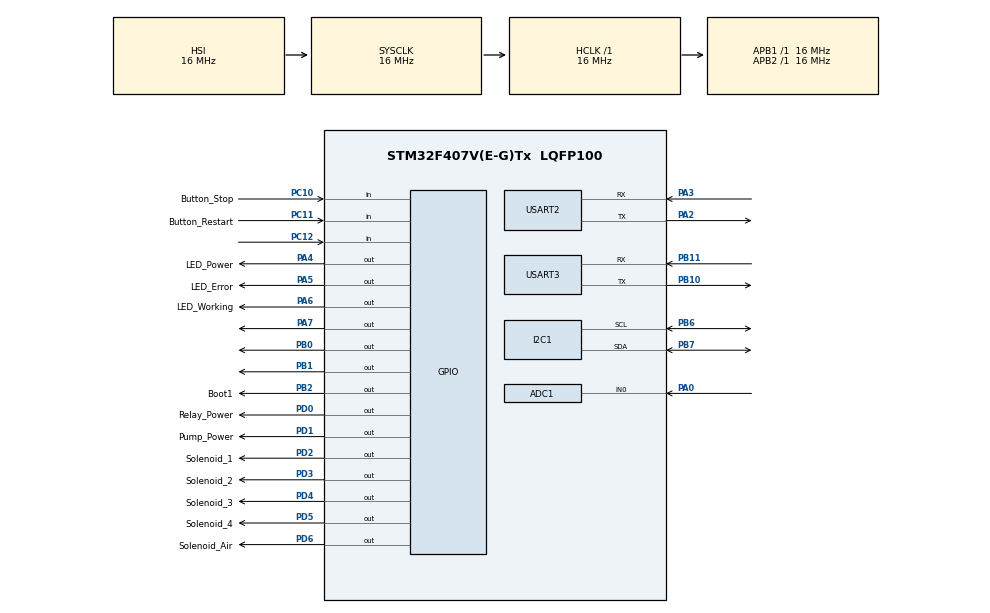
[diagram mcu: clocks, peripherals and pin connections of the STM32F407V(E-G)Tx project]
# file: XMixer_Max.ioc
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ADC1.Channel-0\#ChannelRegularConversion=ADC_CHANNEL_0
ADC1.NbrOfConversionFlag=1
ADC1.Rank-0\#ChannelRegularConversion=1
ADC1.SamplingTime-0\#ChannelRegularConversion=ADC_SAMPLETIME_3CYCLES
ADC1.master=1
Mcu.Family=STM32F4
Mcu.Name=STM32F407V(E-G)Tx
Mcu.Package=LQFP100
NVIC.PriorityGroup=NVIC_PRIORITYGROUP_4
NVIC.TIM2_IRQn=true\:0\:0\:false\:false\:true\:true
NVIC.USART2_IRQn=true\:0\:0\:false\:false\:true\:true
NVIC.USART3_IRQn=true\:0\:0\:false\:false\:true\:true
PA0-WKUP.Signal=ADCx_IN0
PA2.Mode=Asynchronous
PA2.Signal=USART2_TX
PA3.Mode=Asynchronous
PA3.Signal=USART2_RX
PA4.GPIO_Label=LED_Power
PA4.Signal=GPIO_Output
PA5.GPIO_Label=LED_Error
PA5.Signal=GPIO_Output
PA6.GPIO_Label=LED_Working
PA6.Signal=GPIO_Output
PA7.Signal=GPIO_Output
PB0.Signal=GPIO_Output
PB1.Signal=GPIO_Output
PB10.Mode=Asynchronous
PB10.Signal=USART3_TX
PB11.Mode=Asynchronous
PB11.Signal=USART3_RX
PB2.GPIO_Label=Boot1
PB2.Signal=GPIO_Output
PB6.Mode=I2C
PB6.Signal=I2C1_SCL
PB7.Mode=I2C
PB7.Signal=I2C1_SDA
PC10.GPIO_Label=Button_Stop
PC10.Signal=GPIO_Input
PC11.GPIO_Label=Button_Restart
PC11.Signal=GPIO_Input
PC12.Signal=GPIO_Input
PD0.GPIO_Label=Relay_Power
PD0.Signal=GPIO_Output
PD1.GPIO_Label=Pump_Power
PD1.Signal=GPIO_Output
PD2.GPIO_Label=Solenoid_1
PD2.Signal=GPIO_Output
PD3.GPIO_Label=Solenoid_2
PD3.Signal=GPIO_Output
PD4.GPIO_Label=Solenoid_3
PD4.Signal=GPIO_Output
PD5.GPIO_Label=Solenoid_4
PD5.Signal=GPIO_Output
PD6.GPIO_Label=Solenoid_Air
PD6.Signal=GPIO_Output
PH0-OSC_IN.Mode=HSE-External-Oscillator
PH0-OSC_IN.Signal=RCC_OSC_IN
PH1-OSC_OUT.Mode=HSE-External-Oscillator
PH1-OSC_OUT.Signal=RCC_OSC_OUT
ProjectManager.HeapSize=0x200
ProjectManager.StackSize=0x400
ProjectManager.TargetToolchain=SW4STM32
RCC.48MHZClocksFreq_Value=84000000
RCC.AHBFreq_Value=16000000
RCC.APB1Freq_Value=16000000
RCC.APB1TimFreq_Value=16000000
RCC.APB2Freq_Value=16000000
RCC.APB2TimFreq_Value=16000000
RCC.CortexFreq_Value=16000000
RCC.HCLKFreq_Value=16000000
RCC.HSE_VALUE=8000000
RCC.HSI_VALUE=16000000
RCC.LSE_VALUE=32768
RCC.PLLM=4
RCC.PLLN=168
RCC.PLLSourceVirtual=RCC_PLLSOURCE_HSE
RCC.SYSCLKFreq_VALUE=16000000
RCC.VCOOutputFreq_Value=336000000
SH.ADCx_IN0.0=ADC1_IN0,IN0
TIM2.Period=1
TIM2.Prescaler=7999
USART2.VirtualMode=VM_ASYNC
USART3.VirtualMode=VM_ASYNC
VP_TIM2_VS_ClockSourceINT.Mode=Internal
board=custom

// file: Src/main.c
/* USER CODE BEGIN Header */
/**
  ******************************************************************************
  * @file           : main.c
  * @brief          : Main program body
  ******************************************************************************
  ** This notice applies to any and all portions of this file
  * that are not between comment pairs USER CODE BEGIN and
  * USER CODE END. Other portions of this file, whether
  * inserted by the user or by software development tools
  * are owned by their respective copyright owners.
  *
  * COPYRIGHT(c) 2019 STMicroelectronics
  *
  * Redistribution and use in source and binary forms, with or without modification,
  * are permitted provided that the following conditions are met:
  *   1. Redistributions of source code must retain the above copyright notice,
  *      this list of conditions and the following disclaimer.
  *   2. Redistributions in binary form must reproduce the above copyright notice,
  *      this list of conditions and the following disclaimer in the documentation
  *      and/or other materials provided with the distribution.
  *   3. Neither the name of STMicroelectronics nor the names of its contributors
  *      may be used to endorse or promote products derived from this software
  *      without specific prior written permission.
  *
  * THIS SOFTWARE IS PROVIDED BY THE COPYRIGHT HOLDERS AND CONTRIBUTORS "AS IS"
  * AND ANY EXPRESS OR IMPLIED WARRANTIES, INCLUDING, BUT NOT LIMITED TO, THE
  * IMPLIED WARRANTIES OF MERCHANTABILITY AND FITNESS FOR A PARTICULAR PURPOSE ARE
  * DISCLAIMED. IN NO EVENT SHALL THE COPYRIGHT HOLDER OR CONTRIBUTORS BE LIABLE
  * FOR ANY DIRECT, INDIRECT, INCIDENTAL, SPECIAL, EXEMPLARY, OR CONSEQUENTIAL
  * DAMAGES (INCLUDING, BUT NOT LIMITED TO, PROCUREMENT OF SUBSTITUTE GOODS OR
  * SERVICES; LOSS OF USE, DATA, OR PROFITS; OR BUSINESS INTERRUPTION) HOWEVER
  * CAUSED AND ON ANY THEORY OF LIABILITY, WHETHER IN CONTRACT, STRICT LIABILITY,
  * OR TORT (INCLUDING NEGLIGENCE OR OTHERWISE) ARISING IN ANY WAY OUT OF THE USE
  * OF THIS SOFTWARE, EVEN IF ADVISED OF THE POSSIBILITY OF SUCH DAMAGE.
  *
  ******************************************************************************
  */
/* USER CODE END Header */

#include "main.h"

/* USER CODE BEGIN Includes */
#include "i2c-lcd.h"
/* USER CODE END Includes */

ADC_HandleTypeDef hadc1;

I2C_HandleTypeDef hi2c1;

TIM_HandleTypeDef htim2;

UART_HandleTypeDef huart2;
UART_HandleTypeDef huart3;

/* USER CODE BEGIN PV */

//Communication msgs for ESP8266
uint8_t initMsg[] = "init\n";
uint8_t errorMsg[] = "error\n";
uint8_t startMsg[] = "start\n";
uint8_t doneMsg[] = "done\n";
uint8_t ofMsg[] = "overflow\n";

//Test msgs
uint8_t welcomeMessage[] = "Thank you for choosing XMixer Max!\n";
uint8_t selectMessage[] = "Please select the drinks with their ratios.\n";
uint8_t updateMessage[] = "Updating drink information...\n";
uint8_t receiveMessage[] = "Receiving message...\n";
uint8_t vol1Msg[] = "The volume of drink 1 is: ";
uint8_t vol2Msg[] = "The volume of drink 2 is: ";
uint8_t vol3Msg[] = "The volume of drink 3 is: ";
uint8_t vol4Msg[] = "The volume of drink 4 is: ";
uint8_t mlMsg[] = " ml.\n";
uint8_t reply[] = "I received: ";

//Variables
uint8_t pData;
uint8_t buffer[100];
uint8_t numBuffer[10];
int numBufIdx = 0;
int i = 0;
int LF = 0;
int CurIdx;
int status = STATUS_INIT;
int timeout = 0; //2 usages
int overflow = 0;
int tim; //working time passed to TIM2 handler
/* USER CODE END PV */

void SystemClock_Config(void);
static void MX_GPIO_Init(void);
static void MX_I2C1_Init(void);
static void MX_USART2_UART_Init(void);
static void MX_USART3_UART_Init(void);
static void MX_TIM2_Init(void);
static void MX_ADC1_Init(void);
/* USER CODE BEGIN PFP */
void Drink_Transfer(int sol, int time);
void Timer_Enable();
void Timer_Disable();
void System_Test();
/* USER CODE END PFP */

int main(void)
{
  /* USER CODE BEGIN 1 */
	int Vol1;
	int Vol2;
	int Vol3;
	int Vol4;
	int VolDel;
	int Time1;
	int Time2;
	int Time3;
	int Time4;

	int offlag;
  /* USER CODE END 1 */

  /* MCU Configuration--------------------------------------------------------*/

  /* Reset of all peripherals, Initializes the Flash interface and the Systick. */
  HAL_Init();

  /* Configure the system clock */
  SystemClock_Config();

  /* Initialize all configured peripherals */
  MX_GPIO_Init();
  MX_I2C1_Init();
  MX_USART2_UART_Init();
  MX_USART3_UART_Init();
  MX_TIM2_Init();
  MX_ADC1_Init();
  /* USER CODE BEGIN 2 */

  // System starts. Initialize LCD and UAR, turn a green LED to show the status. Wait for Internet connection.
  // Send msg to ESP first and then waiting for reply to check the connection
  // Software is responsible for verifying bidirectional connection with the server
  i = 0;
  lcd_init();
  lcd_send_cmd(0x01);
  lcd_send_cmd(0x02);
  lcd_send_string("plThank you for");
  lcd_send_cmd(0xc0);
  lcd_send_string("using XMixer Max");
  HAL_GPIO_WritePin(LED_Power_GPIO_Port, LED_Power_Pin, GPIO_PIN_SET);
  HAL_Delay(4000);
  lcd_send_cmd(0x01);
  lcd_send_cmd(0x02);
  lcd_send_string("plTrying to con");
  lcd_send_cmd(0xc0);
  lcd_send_string("nect to Internet");
  HAL_UART_Receive_IT(&huart2, &pData, 1);
  HAL_UART_Transmit(&huart2, initMsg, sizeof(initMsg), 100);
  ADC1 -> CR2 |= ADC_CR2_ADON;
  HAL_GPIO_WritePin(LED_Error_GPIO_Port, LED_Error_Pin, GPIO_PIN_RESET);

  HAL_Delay(4000);
  lcd_send_cmd(0x01);
  lcd_send_cmd(0x02);
  lcd_send_string("plPlease select");
  lcd_send_cmd(0xc0);
  lcd_send_string("drinks!");
  /*do {
	  if ((LF == 1) && (timeout == 0)) {
		  //Keep trying as long as 30 seconds have not passed since last restart.
		  LF = 0;
		  lcd_send_cmd(0x01);
		  lcd_send_cmd(0x02);
		  HAL_UART_Receive_IT(&huart2, &pData, 1);
		  if (buffer == "success\n") {
			  //Connection established. Start working.
			  status = STATUS_IDLE;
			  lcd_send_string("plPlease select");
			  lcd_send_cmd(0xc0);
			  lcd_send_string("drinks!");
		  } else if (buffer == "fail\n") {
			  //Connection failed. Reconnecting.
			  status = STATUS_ERROR;
			  lcd_send_string("plNo WiFi found");
			  lcd_send_cmd(0xc0);
			  lcd_send_string("Reconnecting...");
		  }
	  } else if (timeout == 1) {
		  //Have Waited for 30 seconds. Update LCD if still no connection, and turn a red LED PD1 on to indicate error. Then wait for button input to start over.
		  if (HAL_GPIO_ReadPin(Button_Restart_GPIO_Port, Button_Restart_Pin) == 1) {
			  //Button pressed. Start over.
			  timeout = 0;
			  status = STATUS_INIT;
			  HAL_GPIO_WritePin(LED_Error_GPIO_Port, LED_Error_Pin, GPIO_PIN_RESET);
			  lcd_send_cmd(0x01);
			  lcd_send_cmd(0x02);
			  lcd_send_string("plReconnecting...");
		  } else {
			  //Timeout
			  HAL_GPIO_WritePin(LED_Error_GPIO_Port, LED_Error_Pin, GPIO_PIN_SET);
			  lcd_send_cmd(0x01);
			  lcd_send_cmd(0x02);
			  if (status == STATUS_INIT) {
				  lcd_send_string("plWiFi module");
				  lcd_send_cmd(0xc0);
				  lcd_send_string("malfunctioning");
			  } else if (status == STATUS_ERROR) {
				  lcd_send_string("plPlease check");
				  lcd_send_cmd(0xc0);
				  lcd_send_string("WiFi signal");
			  }
		  }
	  }
   } while (status != STATUS_IDLE);
*/
  timeout = 0;
  /* USER CODE END 2 */

  /* Infinite loop */
  while (1)
  {

    /* USER CODE BEGIN 3 */
	  //Check if any information is received.
	  HAL_GPIO_WritePin(LED_Error_GPIO_Port, LED_Error_Pin, GPIO_PIN_RESET);
	  if (LF == 1) {
		  offlag = 0;
		  LF = 0;
		  i = 0;
		  if ((buffer[0] == 49) || (buffer[0] == 10)) { // /n or 1
			  //Order received, parse information
			  CurIdx = 1;
			  numBufIdx = 0;
			  VolDel = 0;
			  while(buffer[CurIdx] != 100) { // d
				  if (buffer[CurIdx] == 44) { // ,
					  CurIdx += 1;
		  	  	  	  while (buffer[CurIdx] != 46) { // .
		  	  	  		  numBuffer[numBufIdx] = buffer[CurIdx];
		  	  	  		  numBufIdx += 1;
		  	  	  		  CurIdx += 1;
		  	  	  	  }
		  	  	  	  numBuffer[numBufIdx] = 0;
		  	  	  	  if (VolDel == 0) {
		  	  	  		  Vol1 = atoi(numBuffer);
		  	  	  		  //HAL_UART_Transmit(&huart3, vol1Msg, sizeof(vol1Msg), 100);
		  	  	  	  } else if (VolDel == 1) {
		  	  	  		  Vol2 = atoi(numBuffer);
		  	  	  		  //HAL_UART_Transmit(&huart3, vol2Msg, sizeof(vol2Msg), 100);
		  	  	  	  } else if (VolDel == 2) {
		  	  	  		  Vol3 = atoi(numBuffer);
		  	  	  		  //HAL_UART_Transmit(&huart3, vol3Msg, sizeof(vol3Msg), 100);
		  	  	  	  } else if (VolDel == 3) {
		  	  	  		  Vol4 = atoi(numBuffer);
		  	  	  		  //HAL_UART_Transmit(&huart3, vol4Msg, sizeof(vol4Msg), 100);
		  	  	  	  }
		  	  	  	  VolDel += 1;
		  	  	  	  numBufIdx = 0;
		  	  	  	  //HAL_UART_Transmit(&huart3, numBuffer, sizeof(numBuffer), 100);
		  	  	  	  //HAL_UART_Transmit(&huart3, mlMsg, sizeof(mlMsg), 100);
			  	  }
			  CurIdx += 1;
	  	  	  }
			  lcd_send_cmd(0x01);
			  lcd_send_cmd(0x02);
			  lcd_send_string("plOrder received");
			  lcd_send_cmd(0xc0);
			  lcd_send_string("Mixing");
			  status = STATUS_READY;
			  //HAL_UART_Transmit(&huart3,h		ccc startMsg, sizeof(startMsg), 100);
		  }
		  //For now, assume no other information would be received, and the process would not be interrupted.
		  else {
			  //Indicate information is not recognizable
			  HAL_UART_Transmit(&huart2, errorMsg, sizeof(errorMsg), 100);
		  }
		  i = 0;
		  HAL_UART_Receive_IT(&huart2, &pData, 1);
	  }
//	  Vol1 = 20;
//	  Vol2 = 20;
//	  Vol3 = 20;
//	  Vol4 = 20;
//	  System_Test();

	  if (status == STATUS_READY) {
//		  if ((Vol1 + Vol2 + Vol3 + Vol4) > 300) {
//			  offlag = 1;
//			  Vol1 = (Vol1 > 300) ? 300: Vol1;
//			  Vol2 = ((Vol1 + Vol2) > 300) ? (300 - Vol1) : Vol2;
//			  Vol3 = ((Vol1 + Vol2 + Vol3) > 300) ? (300 - Vol1 - Vol2) : Vol3;
//			  Vol4 = 300 - Vol1 - Vol2 - Vol3;
//		  }
//		  Vol1 = (Vol1 - 10) * 2;
//		  Vol2 = (Vol2 - 10) * 2;
//		  Vol3 = (Vol3 - 10) * 2;
//		  Vol3 = (Vol4 - 10) * 2;
//		  Vol1 *= 1.15;
//		  Vol2 *= 1.15;
//		  Vol3 *= 1.15;
//		  Vol3 *= 1.15;
		  //Start mixing, need to calculate the time with the speed 7.5 ml/s
		  Timer_Enable();
		  Time1 = Vol1/SPEED1;
		  Time2 = Vol2/SPEED2;
		  Time3 = Vol3/SPEED3;
		  Time4 = Vol4/SPEED4;
		  HAL_GPIO_WritePin(LED_Working_GPIO_Port, LED_Working_Pin, GPIO_PIN_SET);
		  HAL_GPIO_WritePin(Relay_Power_GPIO_Port, Relay_Power_Pin, GPIO_PIN_SET); //Turn on the relay
		  HAL_GPIO_WritePin(Pump_Power_GPIO_Port, Pump_Power_Pin, GPIO_PIN_SET); //Turn on the pump, as PC10 in the pump test

		  Drink_Transfer(1, Time1);
		  if (!overflow) {
			  Drink_Transfer(2, Time2);
			  if (!overflow) {
				  Drink_Transfer(3, Time3);
				  if (!overflow) {
					  Drink_Transfer(4, Time4);
				  }
			  }
		  }

		  HAL_GPIO_WritePin(Pump_Power_GPIO_Port, Pump_Power_Pin, GPIO_PIN_RESET); //Turn off the pump
		  HAL_GPIO_WritePin(Relay_Power_GPIO_Port, Relay_Power_Pin, GPIO_PIN_RESET); //Turn off the relay
		  status = STATUS_IDLE;

		  //Update LED, LCD and the web site
		  HAL_GPIO_WritePin(LED_Working_GPIO_Port, LED_Working_Pin, GPIO_PIN_RESET);
		  if (!overflow && !offlag) {
			  lcd_send_cmd(0x01);
			  lcd_send_cmd(0x02);
			  lcd_send_string("plOrder");
			  lcd_send_cmd(0xc0);
			  lcd_send_string("completed!");
			  HAL_UART_Transmit(&huart2, doneMsg, sizeof(doneMsg), 100);
		  } else {
			  HAL_GPIO_WritePin(LED_Error_GPIO_Port, LED_Error_Pin, GPIO_PIN_SET);
			  lcd_send_cmd(0x01);
			  lcd_send_cmd(0x02);
			  lcd_send_string("plAlmost full!");
			  lcd_send_cmd(0xc0);
			  lcd_send_string("Stop mixing!");
			  HAL_UART_Transmit(&huart2, ofMsg, sizeof(ofMsg), 100);
			  overflow = 0;
		  }
		  Vol1 = 0;
		  Vol2 = 0;
		  Vol3 = 0;
		  Vol4 = 0;
		  offlag = 0;
		  Timer_Disable();
		  HAL_Delay(10000);
		  lcd_send_cmd(0x01);
		  lcd_send_cmd(0x02);
		  lcd_send_string("plPlease select");
		  lcd_send_cmd(0xc0);
		  lcd_send_string("drinks!");
		  HAL_Delay(3000);
	  }
  }
  /* USER CODE END 3 */
}

void SystemClock_Config(void)
{
  RCC_OscInitTypeDef RCC_OscInitStruct = {0};
  RCC_ClkInitTypeDef RCC_ClkInitStruct = {0};

  /**Configure the main internal regulator output voltage
  */
  __HAL_RCC_PWR_CLK_ENABLE();
  __HAL_PWR_VOLTAGESCALING_CONFIG(PWR_REGULATOR_VOLTAGE_SCALE1);
  /**Initializes the CPU, AHB and APB busses clocks
  */
  RCC_OscInitStruct.OscillatorType = RCC_OSCILLATORTYPE_HSI;
  RCC_OscInitStruct.HSIState = RCC_HSI_ON;
  RCC_OscInitStruct.HSICalibrationValue = RCC_HSICALIBRATION_DEFAULT;
  RCC_OscInitStruct.PLL.PLLState = RCC_PLL_NONE;
  if (HAL_RCC_OscConfig(&RCC_OscInitStruct) != HAL_OK)
  {
    Error_Handler();
  }
  /**Initializes the CPU, AHB and APB busses clocks
  */
  RCC_ClkInitStruct.ClockType = RCC_CLOCKTYPE_HCLK|RCC_CLOCKTYPE_SYSCLK
                              |RCC_CLOCKTYPE_PCLK1|RCC_CLOCKTYPE_PCLK2;
  RCC_ClkInitStruct.SYSCLKSource = RCC_SYSCLKSOURCE_HSI;
  RCC_ClkInitStruct.AHBCLKDivider = RCC_SYSCLK_DIV1;
  RCC_ClkInitStruct.APB1CLKDivider = RCC_HCLK_DIV1;
  RCC_ClkInitStruct.APB2CLKDivider = RCC_HCLK_DIV1;

  if (HAL_RCC_ClockConfig(&RCC_ClkInitStruct, FLASH_LATENCY_0) != HAL_OK)
  {
    Error_Handler();
  }
}

static void MX_ADC1_Init(void)
{

  ADC_ChannelConfTypeDef sConfig = {0};

  /**Configure the global features of the ADC (Clock, Resolution, Data Alignment and number of conversion)
  */
  hadc1.Instance = ADC1;
  hadc1.Init.ClockPrescaler = ADC_CLOCK_SYNC_PCLK_DIV2;
  hadc1.Init.Resolution = ADC_RESOLUTION_12B;
  hadc1.Init.ScanConvMode = DISABLE;
  hadc1.Init.ContinuousConvMode = DISABLE;
  hadc1.Init.DiscontinuousConvMode = DISABLE;
  hadc1.Init.ExternalTrigConvEdge = ADC_EXTERNALTRIGCONVEDGE_NONE;
  hadc1.Init.ExternalTrigConv = ADC_SOFTWARE_START;
  hadc1.Init.DataAlign = ADC_DATAALIGN_RIGHT;
  hadc1.Init.NbrOfConversion = 1;
  hadc1.Init.DMAContinuousRequests = DISABLE;
  hadc1.Init.EOCSelection = ADC_EOC_SINGLE_CONV;
  if (HAL_ADC_Init(&hadc1) != HAL_OK)
  {
    Error_Handler();
  }
  /**Configure for the selected ADC regular channel its corresponding rank in the sequencer and its sample time.
  */
  sConfig.Channel = ADC_CHANNEL_0;
  sConfig.Rank = 1;
  sConfig.SamplingTime = ADC_SAMPLETIME_3CYCLES;
  if (HAL_ADC_ConfigChannel(&hadc1, &sConfig) != HAL_OK)
  {
    Error_Handler();
  }

}

static void MX_I2C1_Init(void)
{

  hi2c1.Instance = I2C1;
  hi2c1.Init.ClockSpeed = 100000;
  hi2c1.Init.DutyCycle = I2C_DUTYCYCLE_2;
  hi2c1.Init.OwnAddress1 = 0;
  hi2c1.Init.AddressingMode = I2C_ADDRESSINGMODE_7BIT;
  hi2c1.Init.DualAddressMode = I2C_DUALADDRESS_DISABLE;
  hi2c1.Init.OwnAddress2 = 0;
  hi2c1.Init.GeneralCallMode = I2C_GENERALCALL_DISABLE;
  hi2c1.Init.NoStretchMode = I2C_NOSTRETCH_DISABLE;
  if (HAL_I2C_Init(&hi2c1) != HAL_OK)
  {
    Error_Handler();
  }

}

static void MX_TIM2_Init(void)
{

  TIM_ClockConfigTypeDef sClockSourceConfig = {0};
  TIM_MasterConfigTypeDef sMasterConfig = {0};

  htim2.Instance = TIM2;
  htim2.Init.Prescaler = 7999;
  htim2.Init.CounterMode = TIM_COUNTERMODE_UP;
  htim2.Init.Period = 1;
  htim2.Init.ClockDivision = TIM_CLOCKDIVISION_DIV1;
  if (HAL_TIM_Base_Init(&htim2) != HAL_OK)
  {
    Error_Handler();
  }
  sClockSourceConfig.ClockSource = TIM_CLOCKSOURCE_INTERNAL;
  if (HAL_TIM_ConfigClockSource(&htim2, &sClockSourceConfig) != HAL_OK)
  {
    Error_Handler();
  }
  sMasterConfig.MasterOutputTrigger = TIM_TRGO_RESET;
  sMasterConfig.MasterSlaveMode = TIM_MASTERSLAVEMODE_DISABLE;
  if (HAL_TIMEx_MasterConfigSynchronization(&htim2, &sMasterConfig) != HAL_OK)
  {
    Error_Handler();
  }

}

static void MX_USART2_UART_Init(void)
{

  huart2.Instance = USART2;
  huart2.Init.BaudRate = 115200;
  huart2.Init.WordLength = UART_WORDLENGTH_8B;
  huart2.Init.StopBits = UART_STOPBITS_1;
  huart2.Init.Parity = UART_PARITY_NONE;
  huart2.Init.Mode = UART_MODE_TX_RX;
  huart2.Init.HwFlowCtl = UART_HWCONTROL_NONE;
  huart2.Init.OverSampling = UART_OVERSAMPLING_16;
  if (HAL_UART_Init(&huart2) != HAL_OK)
  {
    Error_Handler();
  }

}

static void MX_USART3_UART_Init(void)
{

  huart3.Instance = USART3;
  huart3.Init.BaudRate = 115200;
  huart3.Init.WordLength = UART_WORDLENGTH_8B;
  huart3.Init.StopBits = UART_STOPBITS_1;
  huart3.Init.Parity = UART_PARITY_NONE;
  huart3.Init.Mode = UART_MODE_TX_RX;
  huart3.Init.HwFlowCtl = UART_HWCONTROL_NONE;
  huart3.Init.OverSampling = UART_OVERSAMPLING_16;
  if (HAL_UART_Init(&huart3) != HAL_OK)
  {
    Error_Handler();
  }

}

static void MX_GPIO_Init(void)
{
  GPIO_InitTypeDef GPIO_InitStruct = {0};

  /* GPIO Ports Clock Enable */
  __HAL_RCC_GPIOH_CLK_ENABLE();
  __HAL_RCC_GPIOA_CLK_ENABLE();
  __HAL_RCC_GPIOB_CLK_ENABLE();
  __HAL_RCC_GPIOC_CLK_ENABLE();
  __HAL_RCC_GPIOD_CLK_ENABLE();

  /*Configure GPIO pin Output Level */
  HAL_GPIO_WritePin(GPIOA, LED_Power_Pin|LED_Error_Pin|LED_Working_Pin|GPIO_PIN_7, GPIO_PIN_RESET);

  /*Configure GPIO pin Output Level */
  HAL_GPIO_WritePin(GPIOB, GPIO_PIN_0|GPIO_PIN_1|Boot1_Pin, GPIO_PIN_RESET);

  /*Configure GPIO pin Output Level */
  HAL_GPIO_WritePin(GPIOD, Relay_Power_Pin|Pump_Power_Pin|Solenoid_1_Pin|Solenoid_2_Pin
                          |Solenoid_3_Pin|Solenoid_4_Pin|Solenoid_Air_Pin, GPIO_PIN_RESET);

  /*Configure GPIO pins : LED_Power_Pin LED_Error_Pin LED_Working_Pin PA7 */
  GPIO_InitStruct.Pin = LED_Power_Pin|LED_Error_Pin|LED_Working_Pin|GPIO_PIN_7;
  GPIO_InitStruct.Mode = GPIO_MODE_OUTPUT_PP;
  GPIO_InitStruct.Pull = GPIO_NOPULL;
  GPIO_InitStruct.Speed = GPIO_SPEED_FREQ_LOW;
  HAL_GPIO_Init(GPIOA, &GPIO_InitStruct);

  /*Configure GPIO pins : PB0 PB1 Boot1_Pin */
  GPIO_InitStruct.Pin = GPIO_PIN_0|GPIO_PIN_1|Boot1_Pin;
  GPIO_InitStruct.Mode = GPIO_MODE_OUTPUT_PP;
  GPIO_InitStruct.Pull = GPIO_NOPULL;
  GPIO_InitStruct.Speed = GPIO_SPEED_FREQ_LOW;
  HAL_GPIO_Init(GPIOB, &GPIO_InitStruct);

  /*Configure GPIO pins : Button_Stop_Pin Button_Restart_Pin PC12 */
  GPIO_InitStruct.Pin = Button_Stop_Pin|Button_Restart_Pin|GPIO_PIN_12;
  GPIO_InitStruct.Mode = GPIO_MODE_INPUT;
  GPIO_InitStruct.Pull = GPIO_NOPULL;
  HAL_GPIO_Init(GPIOC, &GPIO_InitStruct);

  /*Configure GPIO pins : Relay_Power_Pin Pump_Power_Pin Solenoid_1_Pin Solenoid_2_Pin
                           Solenoid_3_Pin Solenoid_4_Pin Solenoid_Air_Pin */
  GPIO_InitStruct.Pin = Relay_Power_Pin|Pump_Power_Pin|Solenoid_1_Pin|Solenoid_2_Pin
                          |Solenoid_3_Pin|Solenoid_4_Pin|Solenoid_Air_Pin;
  GPIO_InitStruct.Mode = GPIO_MODE_OUTPUT_PP;
  GPIO_InitStruct.Pull = GPIO_NOPULL;
  GPIO_InitStruct.Speed = GPIO_SPEED_FREQ_LOW;
  HAL_GPIO_Init(GPIOD, &GPIO_InitStruct);

}

/* USER CODE BEGIN 4 */
void Timer_Enable() {
	TIM2->DIER |= 0x0001;
	TIM2->CR1 |= TIM_CR1_CEN;
	NVIC->ISER[0] |= 0x10000000;
}

void Timer_Disable() {
	TIM2->DIER &= 0xFFFE;
	TIM2->CR1 &= !TIM_CR1_CEN;
	NVIC->ISER[0] &= 0xEFFFFFFF;
}

void Drink_Transfer(int sol, int time) {
	GPIO_TypeDef *port;
	uint16_t pin;
	switch (sol) {
	case 1:
		port = Solenoid_1_GPIO_Port;
		pin = Solenoid_1_Pin;
		break;
	case 2:
		port = Solenoid_2_GPIO_Port;
		pin = Solenoid_2_Pin;
		break;
	case 3:
		port = Solenoid_3_GPIO_Port;
		pin = Solenoid_3_Pin;
		break;
	case 4:
		port = Solenoid_4_GPIO_Port;
		pin = Solenoid_4_Pin;
		break;
	case 5:
		port = Solenoid_Air_GPIO_Port;
		pin = Solenoid_Air_Pin;
		break;
	default:
		port = Solenoid_Air_GPIO_Port;
		pin = Solenoid_Air_Pin;
		break;
	}

	tim = time;
	timeout = 0;
	HAL_GPIO_WritePin(port, pin, GPIO_PIN_SET); //Open solenoid
	status = STATUS_MIXING;
	while (timeout == 0) {
		if (overflow) {
			break;
		}
	}
	HAL_GPIO_WritePin(port, pin, GPIO_PIN_RESET); //Close solenoid
	HAL_Delay(1000); //Wait for a little bit: 1.5s
	if (time != 0) {
		HAL_GPIO_WritePin(Solenoid_Air_GPIO_Port, Solenoid_Air_Pin, GPIO_PIN_SET); //Open solenoid Air
		HAL_Delay(3000);
		HAL_GPIO_WritePin(Solenoid_Air_GPIO_Port, Solenoid_Air_Pin, GPIO_PIN_RESET); //Open solenoid Air
	}
	status = STATUS_READY;
	HAL_Delay(1000); //Wait for a little bit: 1.5s
}

void System_Test() {
	HAL_Delay(3000);
	lcd_send_cmd(0x01);
	lcd_send_cmd(0x02);
	lcd_send_string("plOrder received");
	lcd_send_cmd(0xc0);
	lcd_send_string("Mixing");
	status = STATUS_READY;
}

void HAL_UART_RxCpltCallback(UART_HandleTypeDef *huart)
{
	if (pData == 33) {//!
		i--;
		LF = 1;
	} else {
		buffer[i] = pData;
		i++;
		HAL_UART_Receive_IT(&huart2, &pData, 1);
	}

}
/* USER CODE END 4 */

void Error_Handler(void)
{
}

/************************ (C) COPYRIGHT STMicroelectronics *****END OF FILE****/
